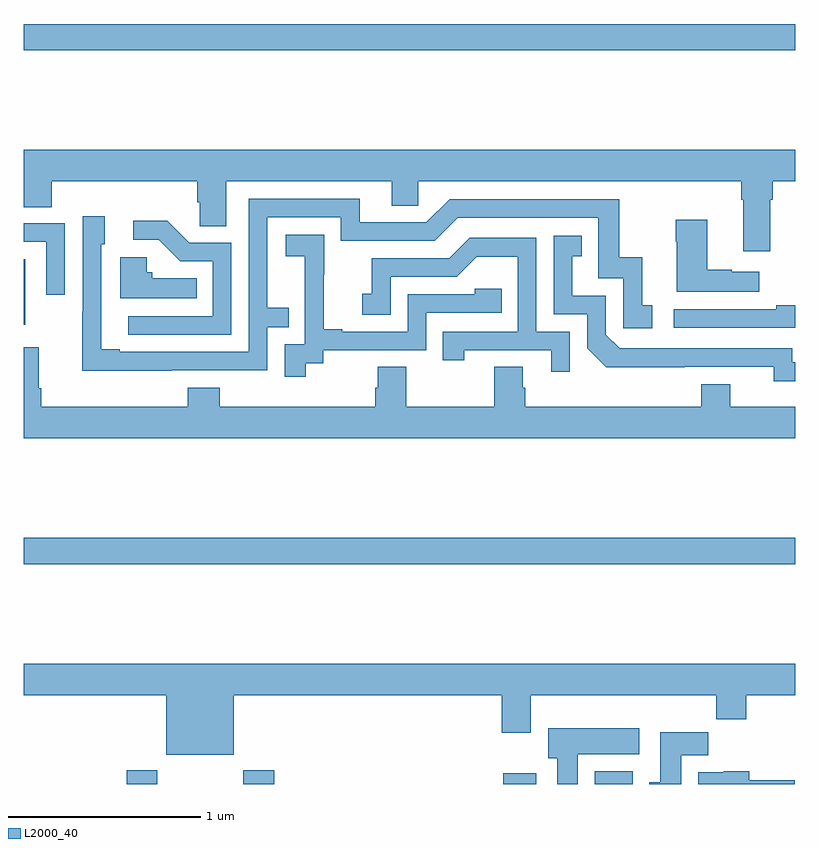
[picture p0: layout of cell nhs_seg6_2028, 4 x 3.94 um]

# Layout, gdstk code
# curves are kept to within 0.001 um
import gdstk
lib = gdstk.Library(unit=1e-6, precision=1e-09)
def R(c, l, rs):  # rectangles x0, y0, x1, y1
    for r in rs: c.add(gdstk.rectangle(r[:2], r[2:], *l))
def P(c, l, *ps):  # polygons
    for p in ps: c.add(gdstk.Polygon(p, *l))
L2000_40 = (2000, 40)

nhs_seg6_2028 = lib.new_cell('nhs_seg6_2028')
R(nhs_seg6_2028, L2000_40, [(231.533,989.5,231.693,989.572), (232.138,989.5,232.298,989.572), (233.486,989.5,233.656,989.557), (233.96,989.5,234.157,989.566), (231,990.64,235,990.776), (231,991.881,231.007,992.221), (231,993.304,235,993.44)])
P(nhs_seg6_2028, L2000_40, [(234.871,992.528),(234.884,992.528),(234.884,992.624),(235,992.624),(235,992.788),(231,992.788),(231,992.491),(231.146,992.491),(231.146,992.624),(231.899,992.624),(231.899,992.515),(231.912,992.515),(231.912,992.392),(232.051,992.392),(232.051,992.624),(232.907,992.624),(232.907,992.497),(233.046,992.497),(233.046,992.624),(234.719,992.624),(234.719,992.528),(234.731,992.528),(234.731,992.262),(234.871,992.262)],
  [(231.767,991.644),(232.263,991.644),(232.263,991.869),(232.373,991.869),(232.373,991.97),(232.263,991.97),(232.263,992.439),(232.644,992.439),(232.644,992.316),(233.13,992.316),(233.25,992.436),(233.979,992.436),(233.979,992.121),(234.108,992.121),(234.108,991.863),(234.259,991.863),(234.259,991.983),(234.206,991.983),(234.206,992.23),(234.088,992.23),(234.088,992.532),(233.208,992.532),(233.088,992.412),(232.741,992.412),(232.741,992.535),(232.167,992.535),(232.167,991.74),(231.499,991.74),(231.499,991.753),(231.402,991.753),(231.402,992.298),(231.421,992.298),(231.421,992.443),(231.306,992.443),(231.306,991.949),(231.304,991.949),(231.304,991.643)],
  [(234.814,992.155),(234.671,992.155),(234.671,992.165),(234.544,992.165),(234.544,992.425),(234.379,992.425),(234.379,992.312),(234.386,992.312),(234.386,992.051),(234.814,992.051)],
  [(232.077,992.307),(231.858,992.307),(231.745,992.42),(231.567,992.42),(231.567,992.322),(231.701,992.322),(231.812,992.211),(231.981,992.211),(231.981,991.926),(231.543,991.926),(231.543,991.83),(232.077,991.83)],
  [(231.213,992.406),(231,992.406),(231,992.31),(231.117,992.31),(231.117,992.037),(231.213,992.037)],
  [(232.462,991.681),(232.554,991.681),(232.554,991.749),(233.088,991.749),(233.088,991.944),(233.477,991.944),(233.477,992.067),(233.337,992.067),(233.337,992.04),(232.992,992.04),(232.992,991.845),(232.651,991.845),(232.651,991.858),(232.556,991.858),(232.556,992.141),(232.557,992.141),(232.557,992.347),(232.359,992.347),(232.359,992.237),(232.457,992.237),(232.457,992.009),(232.458,992.009),(232.458,991.779),(232.353,991.779),(232.353,991.611),(232.462,991.611)],
  [(235,991.686),(234.984,991.686),(234.984,991.758),(234.09,991.758),(234.018,991.83),(234.018,992.031),(233.845,992.031),(233.845,992.235),(233.894,992.235),(233.894,992.341),(233.748,992.341),(233.748,991.935),(233.922,991.935),(233.922,991.758),(234.02,991.661),(234.888,991.662),(234.888,991.589),(235,991.589)],
  [(233.832,991.845),(233.658,991.845),(233.658,992.331),(233.312,992.331),(233.207,992.226),(232.804,992.226),(232.804,992.041),(232.755,992.041),(232.755,991.932),(232.902,991.932),(232.902,992.13),(233.244,992.13),(233.348,992.234),(233.562,992.234),(233.562,991.845),(233.173,991.845),(233.173,991.698),(233.284,991.698),(233.284,991.749),(233.735,991.749),(233.735,991.638),(233.832,991.638)],
  [(231.896,992.122),(231.666,992.122),(231.666,992.154),(231.639,992.154),(231.639,992.23),(231.5,992.23),(231.5,992.018),(231.896,992.018)],
  [(235,991.982),(234.901,991.982),(234.901,991.962),(234.369,991.962),(234.369,991.866),(235,991.866)],
  [(235,991.456),(234.664,991.456),(234.664,991.573),(234.512,991.573),(234.512,991.456),(233.6,991.456),(233.6,991.554),(233.587,991.554),(233.587,991.664),(233.44,991.664),(233.44,991.456),(232.983,991.456),(232.983,991.664),(232.835,991.664),(232.835,991.554),(232.823,991.554),(232.823,991.456),(232.016,991.456),(232.016,991.555),(231.851,991.555),(231.851,991.456),(231.092,991.456),(231.092,991.552),(231.079,991.552),(231.079,991.765),(231,991.765),(231,991.292),(235,991.292)],
  [(232.09,989.96),(233.477,989.96),(233.477,989.766),(233.629,989.766),(233.629,989.96),(234.589,989.96),(234.589,989.836),(234.746,989.836),(234.746,989.96),(235,989.96),(235,990.124),(231,990.124),(231,989.96),(231.74,989.96),(231.74,989.651),(232.09,989.651)],
  [(233.872,989.654),(234.19,989.654),(234.19,989.788),(233.72,989.788),(233.72,989.634),(233.765,989.634),(233.765,989.5),(233.872,989.5)],
  [(234.409,989.648),(234.548,989.648),(234.548,989.767),(234.299,989.767),(234.299,989.508),(234.242,989.508),(234.242,989.5),(234.409,989.5)],
  [(234.997,989.52),(234.761,989.52),(234.761,989.566),(234.63,989.566),(234.63,989.56),(234.497,989.56),(234.497,989.5),(234.997,989.5)])

lib.write_gds('nhs_seg6_2028.gds')
